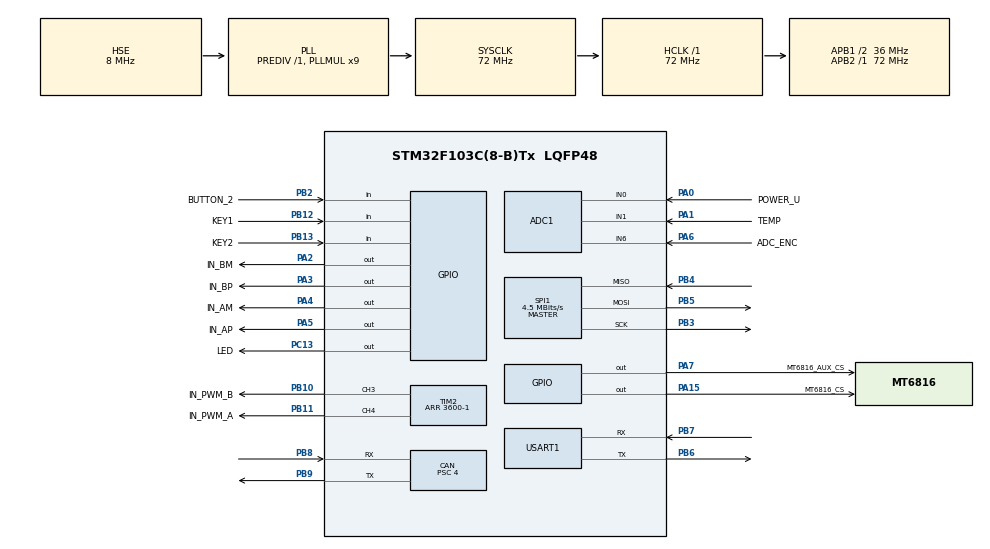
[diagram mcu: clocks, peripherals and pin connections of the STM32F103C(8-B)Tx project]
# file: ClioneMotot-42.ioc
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ADC1.Channel-0\#ChannelRegularConversion=ADC_CHANNEL_0
ADC1.Channel-1\#ChannelRegularConversion=ADC_CHANNEL_1
ADC1.ContinuousConvMode=ENABLE
ADC1.NbrOfConversion=2
ADC1.NbrOfConversionFlag=1
ADC1.Rank-0\#ChannelRegularConversion=1
ADC1.Rank-1\#ChannelRegularConversion=2
ADC1.SamplingTime-0\#ChannelRegularConversion=ADC_SAMPLETIME_71CYCLES_5
ADC1.SamplingTime-1\#ChannelRegularConversion=ADC_SAMPLETIME_71CYCLES_5
ADC1.master=1
CAN.BS1=CAN_BS1_9TQ
CAN.BS2=CAN_BS2_8TQ
CAN.CalculateBaudRate=500000
CAN.CalculateTimeBit=2000
CAN.CalculateTimeQuantum=111.11111111111111
CAN.NART=ENABLE
CAN.Prescaler=4
Dma.ADC1.0.Direction=DMA_PERIPH_TO_MEMORY
Dma.ADC1.0.Instance=DMA1_Channel1
Dma.ADC1.0.MemDataAlignment=DMA_MDATAALIGN_HALFWORD
Dma.ADC1.0.MemInc=DMA_MINC_ENABLE
Dma.ADC1.0.Mode=DMA_CIRCULAR
Dma.ADC1.0.PeriphDataAlignment=DMA_PDATAALIGN_HALFWORD
Dma.ADC1.0.PeriphInc=DMA_PINC_DISABLE
Dma.ADC1.0.Priority=DMA_PRIORITY_HIGH
Dma.Request0=ADC1
Dma.Request1=USART1_RX
Dma.Request2=USART1_TX
Dma.USART1_RX.1.Direction=DMA_PERIPH_TO_MEMORY
Dma.USART1_RX.1.Instance=DMA1_Channel5
Dma.USART1_RX.1.MemDataAlignment=DMA_MDATAALIGN_BYTE
Dma.USART1_RX.1.MemInc=DMA_MINC_ENABLE
Dma.USART1_RX.1.Mode=DMA_NORMAL
Dma.USART1_RX.1.PeriphDataAlignment=DMA_PDATAALIGN_BYTE
Dma.USART1_RX.1.PeriphInc=DMA_PINC_DISABLE
Dma.USART1_RX.1.Priority=DMA_PRIORITY_HIGH
Dma.USART1_TX.2.Direction=DMA_MEMORY_TO_PERIPH
Dma.USART1_TX.2.Instance=DMA1_Channel4
Dma.USART1_TX.2.MemDataAlignment=DMA_MDATAALIGN_BYTE
Dma.USART1_TX.2.MemInc=DMA_MINC_ENABLE
Dma.USART1_TX.2.Mode=DMA_NORMAL
Dma.USART1_TX.2.PeriphDataAlignment=DMA_PDATAALIGN_BYTE
Dma.USART1_TX.2.PeriphInc=DMA_PINC_DISABLE
Dma.USART1_TX.2.Priority=DMA_PRIORITY_HIGH
FREERTOS.Tasks01=defaultTask,24,128,StartDefaultTask,Default,NULL,Dynamic,NULL,NULL
IWDG.Prescaler=IWDG_PRESCALER_64
Mcu.Family=STM32F1
Mcu.Name=STM32F103C(8-B)Tx
Mcu.Package=LQFP48
NVIC.CAN1_RX1_IRQn=true\:5\:0\:false\:false\:true\:true\:true\:true\:true
NVIC.CAN1_SCE_IRQn=true\:5\:0\:false\:false\:true\:true\:true\:true\:true
NVIC.DMA1_Channel1_IRQn=true\:5\:0\:false\:false\:true\:true\:false\:true\:true
NVIC.DMA1_Channel4_IRQn=true\:5\:0\:false\:false\:true\:true\:false\:true\:true
NVIC.DMA1_Channel5_IRQn=true\:5\:0\:false\:false\:true\:true\:false\:true\:true
NVIC.PriorityGroup=NVIC_PRIORITYGROUP_4
NVIC.TIM1_BRK_IRQn=true\:5\:0\:false\:false\:true\:true\:true\:true\:true
NVIC.TIM1_CC_IRQn=true\:5\:0\:false\:false\:true\:true\:true\:true\:true
NVIC.TIM1_TRG_COM_IRQn=true\:5\:0\:false\:false\:true\:true\:true\:true\:true
NVIC.TIM1_UP_IRQn=true\:5\:0\:false\:false\:true\:true\:true\:true\:true
NVIC.TIM3_IRQn=true\:5\:0\:false\:false\:true\:true\:true\:true\:true
NVIC.TIM4_IRQn=true\:15\:0\:false\:false\:true\:false\:false\:true\:true
NVIC.TimeBase=TIM4_IRQn
NVIC.TimeBaseIP=TIM4
NVIC.USART1_IRQn=true\:5\:0\:false\:false\:true\:true\:true\:true\:true
NVIC.USB_HP_CAN1_TX_IRQn=true\:5\:0\:false\:false\:true\:true\:true\:true\:true
NVIC.USB_LP_CAN1_RX0_IRQn=true\:5\:0\:false\:false\:true\:true\:true\:true\:true
PA0-WKUP.GPIO_Label=POWER_U
PA0-WKUP.Signal=ADCx_IN0
PA1.GPIO_Label=TEMP
PA1.Signal=ADCx_IN1
PA13.Mode=Serial_Wire
PA13.Signal=SYS_JTMS-SWDIO
PA14.Mode=Serial_Wire
PA14.Signal=SYS_JTCK-SWCLK
PA15.GPIO_Label=MT6816_CS
PA15.GPIO_Speed=GPIO_SPEED_FREQ_HIGH
PA15.Signal=GPIO_Output
PA2.GPIO_Label=IN_BM
PA2.GPIO_Speed=GPIO_SPEED_FREQ_HIGH
PA2.PinState=GPIO_PIN_SET
PA2.Signal=GPIO_Output
PA3.GPIO_Label=IN_BP
PA3.GPIO_Speed=GPIO_SPEED_FREQ_HIGH
PA3.PinState=GPIO_PIN_SET
PA3.Signal=GPIO_Output
PA4.GPIO_Label=IN_AM
PA4.GPIO_Speed=GPIO_SPEED_FREQ_HIGH
PA4.PinState=GPIO_PIN_SET
PA4.Signal=GPIO_Output
PA5.GPIO_Label=IN_AP
PA5.GPIO_Speed=GPIO_SPEED_FREQ_HIGH
PA5.PinState=GPIO_PIN_SET
PA5.Signal=GPIO_Output
PA6.GPIO_Label=ADC_ENC
PA6.Signal=ADCx_IN6
PA7.GPIO_Label=MT6816_AUX_CS
PA7.GPIO_Speed=GPIO_SPEED_FREQ_HIGH
PA7.Signal=GPIO_Output
PB10.GPIO_Label=IN_PWM_B
PB10.Signal=S_TIM2_CH3
PB11.GPIO_Label=IN_PWM_A
PB11.Signal=S_TIM2_CH4
PB12.GPIO_Label=KEY1
PB12.GPIO_PuPd=GPIO_PULLUP
PB12.Signal=GPIO_Input
PB13.GPIO_Label=KEY2
PB13.Signal=GPIO_Input
PB2.GPIO_Label=BUTTON_2
PB2.GPIO_PuPd=GPIO_PULLUP
PB2.Signal=GPIO_Input
PB3.Mode=Full_Duplex_Master
PB3.Signal=SPI1_SCK
PB4.Mode=Full_Duplex_Master
PB4.Signal=SPI1_MISO
PB5.Mode=Full_Duplex_Master
PB5.Signal=SPI1_MOSI
PB6.Mode=Asynchronous
PB6.Signal=USART1_TX
PB7.Mode=Asynchronous
PB7.Signal=USART1_RX
PB8.Mode=CAN_Activate
PB8.Signal=CAN_RX
PB9.Mode=CAN_Activate
PB9.Signal=CAN_TX
PC13-TAMPER-RTC.GPIO_Label=LED
PC13-TAMPER-RTC.Signal=GPIO_Output
PD0-OSC_IN.Mode=HSE-External-Oscillator
PD0-OSC_IN.Signal=RCC_OSC_IN
PD1-OSC_OUT.Mode=HSE-External-Oscillator
PD1-OSC_OUT.Signal=RCC_OSC_OUT
ProjectManager.HeapSize=0x200
ProjectManager.StackSize=0x400
ProjectManager.TargetToolchain=CMake
RCC.ADCPresc=RCC_ADCPCLK2_DIV6
RCC.AHBFreq_Value=72000000
RCC.APB1CLKDivider=RCC_HCLK_DIV2
RCC.APB1Freq_Value=36000000
RCC.APB1TimFreq_Value=72000000
RCC.APB2Freq_Value=72000000
RCC.APB2TimFreq_Value=72000000
RCC.HCLKFreq_Value=72000000
RCC.PLLMUL=RCC_PLL_MUL9
RCC.PLLSourceVirtual=RCC_PLLSOURCE_HSE
RCC.SYSCLKFreq_VALUE=72000000
RCC.SYSCLKSource=RCC_SYSCLKSOURCE_PLLCLK
RCC.USBFreq_Value=72000000
SH.ADCx_IN0.0=ADC1_IN0,IN0
SH.ADCx_IN1.0=ADC1_IN1,IN1
SH.ADCx_IN6.0=ADC1_IN6,IN6
SH.S_TIM2_CH3.0=TIM2_CH3,PWM Generation3 CH3
SH.S_TIM2_CH4.0=TIM2_CH4,PWM Generation4 CH4
SPI1.BaudRatePrescaler=SPI_BAUDRATEPRESCALER_16
SPI1.CLKPhase=SPI_PHASE_2EDGE
SPI1.CLKPolarity=SPI_POLARITY_HIGH
SPI1.CalculateBaudRate=4.5 MBits/s
SPI1.Direction=SPI_DIRECTION_2LINES
SPI1.Mode=SPI_MODE_MASTER
SPI1.VirtualType=VM_MASTER
TIM1.Period=3600-1
TIM1.Prescaler=0
TIM2.Channel-PWM\ Generation3\ CH3=TIM_CHANNEL_3
TIM2.Channel-PWM\ Generation4\ CH4=TIM_CHANNEL_4
TIM2.Period=3600-1
TIM3.Period=100-1
TIM3.Prescaler=72-1
USART1.VirtualMode=VM_ASYNC
VP_ADC1_TempSens_Input.Mode=IN-TempSens
VP_FREERTOS_VS_CMSIS_V2.Mode=CMSIS_V2
VP_IWDG_VS_IWDG.Mode=IWDG_Activate
VP_SYS_VS_tim4.Mode=TIM4
VP_TIM1_VS_ClockSourceINT.Mode=Internal
VP_TIM3_VS_ClockSourceINT.Mode=Internal
board=custom

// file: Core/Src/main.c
/* USER CODE BEGIN Header */
/**
  ******************************************************************************
  * @file           : main.c
  * @brief          : Main program body
  ******************************************************************************
  * @attention
  *
  * Copyright (c) 2025 STMicroelectronics.
  * All rights reserved.
  *
  * This software is licensed under terms that can be found in the LICENSE file
  * in the root directory of this software component.
  * If no LICENSE file comes with this software, it is provided AS-IS.
  *
  ******************************************************************************
  */
/* USER CODE END Header */
#include "main.h"
#include "cmsis_os.h"
#include "adc.h"
#include "can.h"
#include "dma.h"
#include "iwdg.h"
#include "spi.h"
#include "tim.h"
#include "usart.h"
#include "gpio.h"

/* USER CODE BEGIN Includes */
#include "CrashLog.h"
/* USER CODE END Includes */

/* USER CODE BEGIN PTD */
#include "Cpphand.h"
/* USER CODE END PTD */

void SystemClock_Config(void);
void MX_FREERTOS_Init(void);

int main(void)
{

  /* MCU Configuration--------------------------------------------------------*/

  /* Reset of all peripherals, Initializes the Flash interface and the Systick. */
  HAL_Init();

  /* Configure the system clock */
  SystemClock_Config();

  /* Initialize all configured peripherals */
  MX_GPIO_Init();
  MX_DMA_Init();
  MX_ADC1_Init();
  MX_CAN_Init();
  MX_SPI1_Init();
  MX_TIM2_Init();
  MX_USART1_UART_Init();
  MX_IWDG_Init();
  MX_TIM1_Init();
  MX_TIM3_Init();

  /* Init scheduler */
  osKernelInitialize();

  /* Call init function for freertos objects (in cmsis_os2.c) */
  MX_FREERTOS_Init();

  /* Start scheduler */
  osKernelStart();

  /* We should never get here as control is now taken by the scheduler */

  /* Infinite loop */
  while (1)
  {

  }
}

void SystemClock_Config(void)
{
  RCC_OscInitTypeDef RCC_OscInitStruct = {0};
  RCC_ClkInitTypeDef RCC_ClkInitStruct = {0};
  RCC_PeriphCLKInitTypeDef PeriphClkInit = {0};

  /** Initializes the RCC Oscillators according to the specified parameters
  * in the RCC_OscInitTypeDef structure.
  */
  RCC_OscInitStruct.OscillatorType = RCC_OSCILLATORTYPE_LSI|RCC_OSCILLATORTYPE_HSE;
  RCC_OscInitStruct.HSEState = RCC_HSE_ON;
  RCC_OscInitStruct.HSEPredivValue = RCC_HSE_PREDIV_DIV1;
  RCC_OscInitStruct.HSIState = RCC_HSI_ON;
  RCC_OscInitStruct.LSIState = RCC_LSI_ON;
  RCC_OscInitStruct.PLL.PLLState = RCC_PLL_ON;
  RCC_OscInitStruct.PLL.PLLSource = RCC_PLLSOURCE_HSE;
  RCC_OscInitStruct.PLL.PLLMUL = RCC_PLL_MUL9;
  if (HAL_RCC_OscConfig(&RCC_OscInitStruct) != HAL_OK)
  {
    Error_Handler();
  }

  /** Initializes the CPU, AHB and APB buses clocks
  */
  RCC_ClkInitStruct.ClockType = RCC_CLOCKTYPE_HCLK|RCC_CLOCKTYPE_SYSCLK
                              |RCC_CLOCKTYPE_PCLK1|RCC_CLOCKTYPE_PCLK2;
  RCC_ClkInitStruct.SYSCLKSource = RCC_SYSCLKSOURCE_PLLCLK;
  RCC_ClkInitStruct.AHBCLKDivider = RCC_SYSCLK_DIV1;
  RCC_ClkInitStruct.APB1CLKDivider = RCC_HCLK_DIV2;
  RCC_ClkInitStruct.APB2CLKDivider = RCC_HCLK_DIV1;

  if (HAL_RCC_ClockConfig(&RCC_ClkInitStruct, FLASH_LATENCY_2) != HAL_OK)
  {
    Error_Handler();
  }
  PeriphClkInit.PeriphClockSelection = RCC_PERIPHCLK_ADC;
  PeriphClkInit.AdcClockSelection = RCC_ADCPCLK2_DIV6;
  if (HAL_RCCEx_PeriphCLKConfig(&PeriphClkInit) != HAL_OK)
  {
    Error_Handler();
  }
}

void HAL_TIM_PeriodElapsedCallback(TIM_HandleTypeDef *htim)
{
  if (htim->Instance == TIM4)
  {
    HAL_IncTick();
  }
  /* USER CODE BEGIN Callback 1 */
  if (htim->Instance == TIM3)
  {
    TIM3_1KHz();
  }
  /* USER CODE END Callback 1 */
}

void Error_Handler(void)
{
  /* USER CODE BEGIN Error_Handler_Debug */
  LOG_CRASH_HERE();
  /* User can add his own implementation to report the HAL error return state */
  __disable_irq();
  while (1)
  {
  }
  /* USER CODE END Error_Handler_Debug */
}

#ifdef  USE_FULL_ASSERT
/**
  * @brief  Reports the name of the source file and the source line number
  *         where the assert_param error has occurred.
  * @param  file: pointer to the source file name
  * @param  line: assert_param error line source number
  * @retval None
  */
void assert_failed(uint8_t *file, uint32_t line)
{
  /* USER CODE BEGIN 6 */
  LOG_CRASH_HERE();
  /* User can add his own implementation to report the file name and line number,
     ex: printf("Wrong parameters value: file %s on line %d\r\n", file, line) */
  /* USER CODE END 6 */
}
#endif /* USE_FULL_ASSERT */

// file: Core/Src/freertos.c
/* USER CODE BEGIN Header */
/**
  ******************************************************************************
  * File Name          : freertos.c
  * Description        : Code for freertos applications
  ******************************************************************************
  * @attention
  *
  * Copyright (c) 2025 STMicroelectronics.
  * All rights reserved.
  *
  * This software is licensed under terms that can be found in the LICENSE file
  * in the root directory of this software component.
  * If no LICENSE file comes with this software, it is provided AS-IS.
  *
  ******************************************************************************
  */
/* USER CODE END Header */

#include "FreeRTOS.h"
#include "task.h"
#include "main.h"
#include "cmsis_os.h"

/* USER CODE BEGIN Includes */
#include "Cpphand.h"
/* USER CODE END Includes */

/* Definitions for defaultTask */
osThreadId_t defaultTaskHandle;
const osThreadAttr_t defaultTask_attributes = {
  .name = "defaultTask",
  .stack_size = 128 * 4,
  .priority = (osPriority_t) osPriorityNormal,
};

/* USER CODE BEGIN FunctionPrototypes */

osThreadId_t KeyTaskHandle;
const osThreadAttr_t KeyTask_attributes = {
  .name = "KeyTask",
  .stack_size = 64 * 4,
  .priority = (osPriority_t) osPriorityNormal,
};

osThreadId_t MessageTaskHandle;
const osThreadAttr_t MessageTask_attributes = {
  .name = "MessageTask",
  .stack_size = 128 * 4,
  .priority = (osPriority_t) osPriorityNormal,
};

osThreadId_t MotorTaskHandle;
const osThreadAttr_t MotorTask_attributes = {
  .name = "MotorTask",
  .stack_size = 128 * 4,
  .priority = (osPriority_t) osPriorityNormal,
};
/* USER CODE END FunctionPrototypes */

void StartDefaultTask(void *argument);

void MX_FREERTOS_Init(void); /* (MISRA C 2004 rule 8.1) */

void MX_FREERTOS_Init(void) {

  /* Create the thread(s) */
  /* creation of defaultTask */
  defaultTaskHandle = osThreadNew(StartDefaultTask, NULL, &defaultTask_attributes);

  /* USER CODE BEGIN RTOS_THREADS */
  AllInit();
  KeyTaskHandle = osThreadNew(Key_Tick, NULL, &KeyTask_attributes);
  MessageTaskHandle = osThreadNew(Message_Task, NULL, &MessageTask_attributes);
  MotorTaskHandle = osThreadNew(Hardware_Tick, NULL, &MotorTask_attributes);
  /* add threads, ... */
  /* USER CODE END RTOS_THREADS */

}

void StartDefaultTask(void *argument)
{
  /* USER CODE BEGIN StartDefaultTask */
  /* Infinite loop */
  for(;;)
  {
    osDelay(1000);
  }
  /* USER CODE END StartDefaultTask */
}
